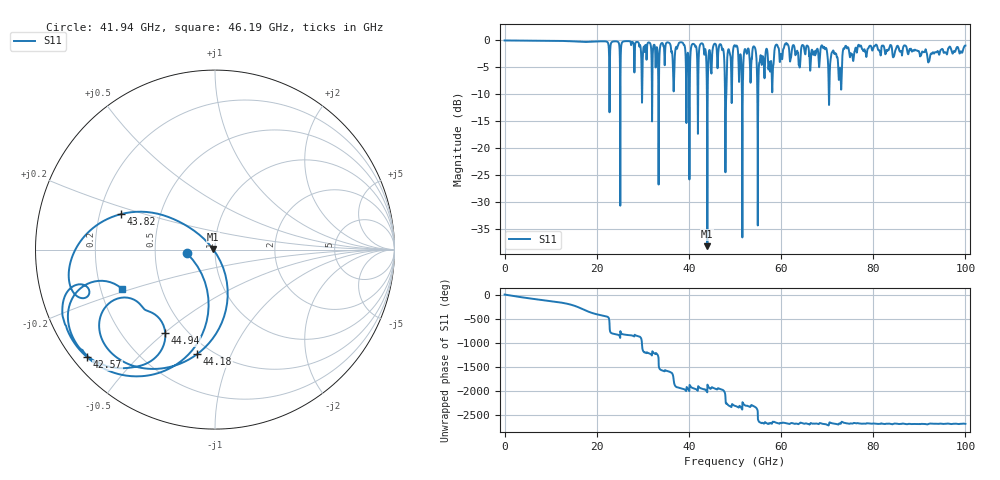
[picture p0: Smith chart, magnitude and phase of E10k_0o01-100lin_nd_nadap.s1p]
! Sonnet Data File
! From: em Version : 18.56
! From Project: E10k_0o1-100lin_nd_nadap
! Data is De-embedded
! Data File Written: 03/11/2023 11:40:15
!< HDATE 03/11/2023 11:16:36
!< MDATE 03/11/2023 11:16:36
# GHZ S MA R 50.00000
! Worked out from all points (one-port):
!   10000 points, 10 MHz to 100 GHz, reference 50 ohm
!   lowest |S11| = -38.3 dB at 44 GHz (marker M1), VSWR 1.02, Z = 48.9 + j0.364 ohm
!   |S11| at or under -10 dB: 43.91012 GHz to 44.08271 GHz (172.6 MHz wide, 0.392 % of centre); 47.83 GHz to 48.12 GHz (287.6 MHz wide, 0.599 % of centre); 54.84945 GHz to 55.0498 GHz (200.3 MHz wide, 0.365 % of centre)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
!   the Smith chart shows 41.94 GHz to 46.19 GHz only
!   S11 on the Smith chart (normalised r, x): 41.94 GHz: 0.73, -0.03; 42.57 GHz: 0.04, -0.36; 43.82 GHz: 0.29, +0.17; 44.18 GHz: 0.42, -0.75; 44.94 GHz: 0.38, -0.50; 46.19 GHz: 0.29, -0.19
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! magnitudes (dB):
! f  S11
! 10 MHz  0.0
! 12.51 GHz  -0.1
! 25.01 GHz  -3.0
! 37.51 GHz  -1.2
! 38.78 GHz  -0.6
! 39.79 GHz  -2.3
! 40.85 GHz  -0.6
! 41.94 GHz  -16.0
! 42.57 GHz  -0.6
! 43.82 GHz  -5.0
! 44 GHz  -38.3
! 44.18 GHz  -4.6
! 44.94 GHz  -5.3
! 46.19 GHz  -5.0
! 47.17 GHz  -1.6
! 48.02 GHz  -12.7
! 50.01 GHz  -0.9
! 51.29 GHz  -3.0
! 52.48 GHz  -2.2
! 54.22 GHz  -1.2
! 55.15 GHz  -5.6
! 55.72 GHz  -3.9
! 62.51 GHz  -1.0
! 69.26 GHz  -1.3
! 72.77 GHz  -5.1
! 75.01 GHz  -2.9
! 87.51 GHz  -2.5
! 100 GHz  -0.9
